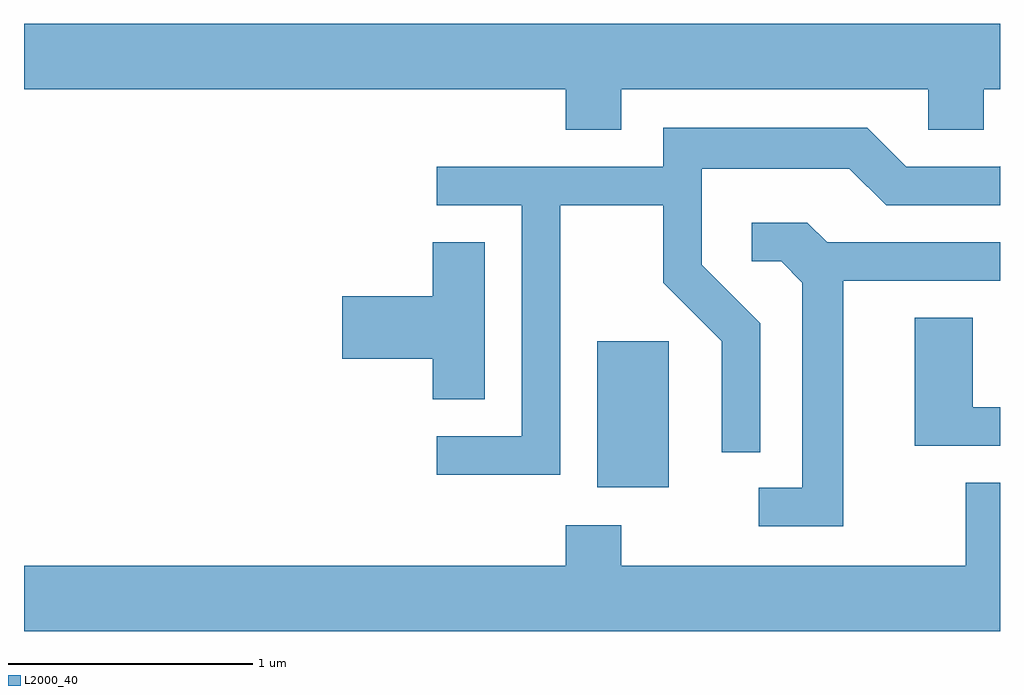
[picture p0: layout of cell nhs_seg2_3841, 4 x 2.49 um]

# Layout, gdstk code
import gdstk
lib = gdstk.Library(unit=1e-6, precision=1e-09)
def R(c, l, rs):  # rectangles x0, y0, x1, y1
    for r in rs: c.add(gdstk.rectangle(r[:2], r[2:], *l))
def P(c, l, *ps):  # polygons
    for p in ps: c.add(gdstk.Polygon(p, *l))
L2000_40 = (2000, 40)

nhs_seg2_3841 = lib.new_cell('nhs_seg2_3841')
R(nhs_seg2_3841, L2000_40, [(299.961,1064.446,300.254,1065.044)])
P(nhs_seg2_3841, L2000_40, [(300.059,1066.076),(301.316,1066.076),(301.316,1065.911),(301.544,1065.911),(301.544,1066.076),(301.611,1066.076),(301.611,1066.344),(297.611,1066.344),(297.611,1066.076),(299.831,1066.076),(299.831,1065.911),(300.059,1065.911)],
  [(299.809,1065.601),(300.231,1065.601),(300.231,1065.284),(300.471,1065.044),(300.471,1064.588),(300.629,1064.588),(300.629,1065.117),(300.389,1065.357),(300.389,1065.751),(300.994,1065.751),(301.144,1065.601),(301.611,1065.601),(301.611,1065.761),(301.609,1065.759),(301.227,1065.759),(301.067,1065.919),(300.231,1065.919),(300.231,1065.759),(299.303,1065.759),(299.303,1065.601),(299.651,1065.601),(299.651,1064.654),(299.303,1064.654),(299.303,1064.496),(299.809,1064.496)],
  [(300.969,1065.291),(301.611,1065.291),(301.611,1065.449),(300.902,1065.449),(300.822,1065.529),(300.593,1065.529),(300.593,1065.371),(300.714,1065.371),(300.801,1065.284),(300.801,1064.444),(300.623,1064.444),(300.623,1064.286),(300.969,1064.286)],
  [(299.499,1065.449),(299.286,1065.449),(299.286,1065.229),(298.916,1065.229),(298.916,1064.971),(299.286,1064.971),(299.286,1064.806),(299.499,1064.806)],
  [(301.611,1064.774),(301.499,1064.774),(301.499,1065.139),(301.261,1065.139),(301.261,1064.616),(301.611,1064.616)],
  [(301.611,1064.464),(301.471,1064.464),(301.471,1064.124),(300.059,1064.124),(300.059,1064.289),(299.831,1064.289),(299.831,1064.124),(297.611,1064.124),(297.611,1063.856),(301.611,1063.856)])

lib.write_gds('nhs_seg2_3841.gds')
